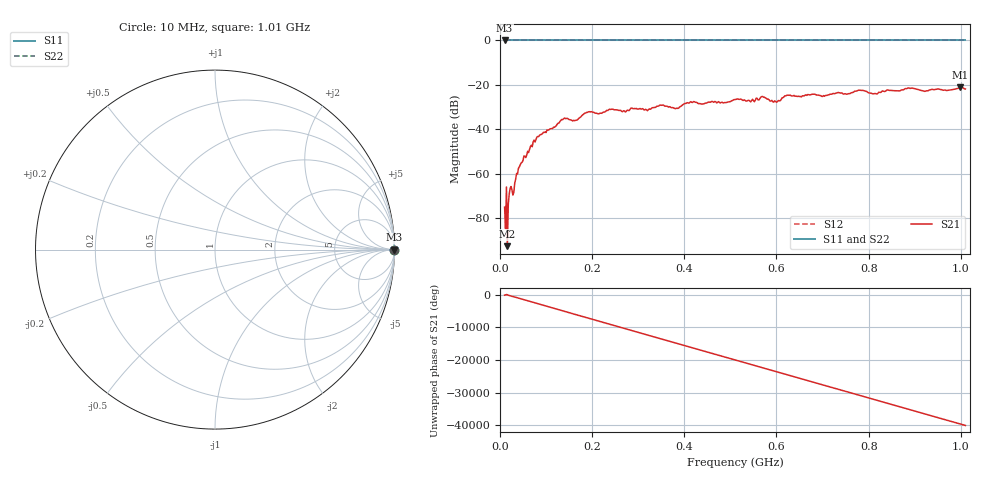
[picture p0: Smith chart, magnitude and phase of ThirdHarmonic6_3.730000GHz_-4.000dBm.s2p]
! 8/17/2025 12:44:36 PM
! C:\ANRITSUVNA\TEMP\TEMP.S2P
! CHANNEL.1
! TR.MEASUREMENT
! RAW.DATA
! RF.CORRECTION.OFF
! AVERAGING.OFF
! IF.BANDWIDTH: 5KHZ
! SWEEPTYPE:  FREQ.SWEEP(Linear)
! Reference Plane Port Info
! PORT:  PORT1  PORT2
! DISTANCE:  0  m  0  m
! TIME:  0  s  0  s
! PHASE.OFFSET:  0  deg.  0  deg.
! LOSS:  0  dB  0  dB
! REF.LOSS:  0  dB  0  dB
! REF.FREQ:  0  Hz  0  Hz
! Power Info
! POWER:  -20  dBm  -20  dBm
! EFF.POWER:  -20  dBm  -20  dBm
! SOURCE.ATTEN:  0  dB  0  dB
! TEST.ATTEN:  0  dB  0  dB
# GHZ S RI R 50.0
! FREQ.GHZ  S11RE  S11IM  S21RE  S21IM  S12RE  S12IM  S22RE  S22IM
!; PortSelection: Port_12
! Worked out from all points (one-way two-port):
!   501 points, 10 MHz to 1.01 GHz, reference 50 ohm
!   highest |S21| = -21.19 dB at 998 MHz (marker M1); lowest = -92.7 dB at 16 MHz (marker M2)
!   lowest |S11| = 0.0 dB at 10 MHz (marker M3)
!   |S11| at or under -10 dB: nowhere
!   |S22| runs from 0.0 to 0.0 dB; largest |S21 - S12| = 1.1
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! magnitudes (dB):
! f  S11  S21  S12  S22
! 10 MHz  0.0  -75.1  0.0  0.0
! 16 MHz  0.0  -92.7  0.0  0.0
! 22 MHz  0.0  -66.6  0.0  0.0
! 30 MHz  0.0  -68.5  0.0  0.0
! 44 MHz  0.0  -56.0  0.0  0.0
! 76 MHz  0.0  -45.8  0.0  0.0
! 136 MHz  0.0  -35.7  0.0  0.0
! 162 MHz  0.0  -36.2  0.0  0.0
! 178 MHz  0.0  -33.8  0.0  0.0
! 344 MHz  0.0  -29.6  0.0  0.0
! 384 MHz  0.0  -30.5  0.0  0.0
! 418 MHz  0.0  -27.9  0.0  0.0
! 510 MHz  0.0  -26.6  0.0  0.0
! 548 MHz  0.0  -26.5  0.0  0.0
! 570 MHz  0.0  -25.3  0.0  0.0
! 598 MHz  0.0  -27.5  0.0  0.0
! 622 MHz  0.0  -24.7  0.0  0.0
! 678 MHz  0.0  -24.2  0.0  0.0
! 814 MHz  0.0  -23.9  0.0  0.0
! 844 MHz  0.0  -22.5  0.0  0.0
! 998 MHz  0.0  -21.2  0.0  0.0
! 1.01 GHz  0.0  -21.9  0.0  0.0
